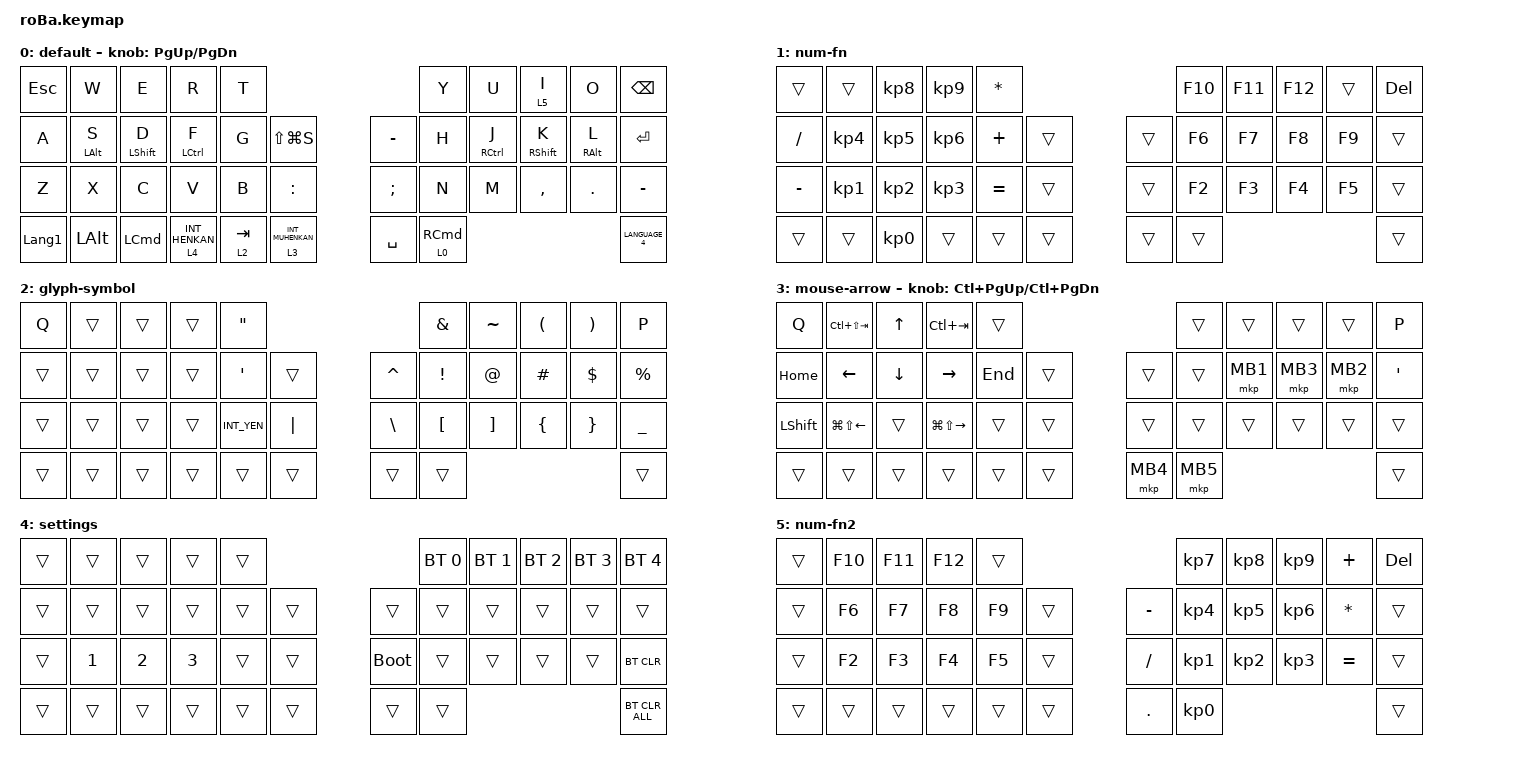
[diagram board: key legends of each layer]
#define ZMK_POINTING_DEFAULT_MOVE_VAL 2400  // default: 600
#define ZMK_POINTING_DEFAULT_SCRL_VAL 8    // default: 10

#include <behaviors.dtsi>
#include <dt-bindings/zmk/bt.h>
#include <dt-bindings/zmk/keys.h>
#include <dt-bindings/zmk/pointing.h>

#define MOUSE 4
#define SCROLL 5
#define NUM 6

&mt {
    flavor = "balanced";
    quick-tap-ms = <0>;
};

/ {
    combos {
        compatible = "zmk,combos";

        tab {
            bindings = <&kp TAB>;
            key-positions = <11 12>;
        };

        shift_tab {
            bindings = <&kp LS(TAB)>;
            key-positions = <12 13>;
        };

        muhennkann {
            bindings = <&to_layer_0 INT_MUHENKAN>;
            key-positions = <11 10>;
        };

        double_quotation {
            bindings = <&kp DOUBLE_QUOTES>;
            key-positions = <20 21>;
        };

        eq {
            bindings = <&kp EQUAL>;
            key-positions = <24 25>;
        };
    };

    macros {
        to_layer_0: to_layer_0 {
            compatible = "zmk,behavior-macro-one-param";
            #binding-cells = <1>;
            bindings = <&to 0 &macro_param_1to1 &kp MACRO_PLACEHOLDER>;
            label = "TO_LAYER_0";
        };
    };

    behaviors {
        lt_to_layer_0: lt_to_layer_0 {
            compatible = "zmk,behavior-hold-tap";
            label = "LAYER_TAP_TO_0";
            bindings = <&mo>, <&to_layer_0>;

            #binding-cells = <2>;
            tapping-term-ms = <200>;
        };
    };

    keymap {
        compatible = "zmk,keymap";

        default {
            bindings = <
&kp ESC         &kp W           &kp E             &kp R                        &kp T                                                        &kp Y                &kp U        &lt 5 I            &kp O            &kp BACKSPACE
&kp A           &mt LEFT_ALT S  &mt LEFT_SHIFT D  &mt LCTRL F                  &kp G      &kp LS(LG(S))                      &kp MINUS      &kp H                &mt RCTRL J  &mt RIGHT_SHIFT K  &mt RIGHT_ALT L  &kp ENTER
&kp Z           &kp X           &kp C             &kp V                        &kp B      &kp COLON                          &kp SEMICOLON  &kp N                &kp M        &kp COMMA          &kp DOT          &kp MINUS
&kp LANGUAGE_1  &kp LEFT_ALT    &kp LEFT_COMMAND  &lt_to_layer_0 4 INT_HENKAN  &lt 2 TAB  &lt_to_layer_0 3 INT_MUHENKAN      &kp SPACE      &lt 0 RIGHT_COMMAND                                                   &kp LANGUAGE_4
            >;

            sensor-bindings = <&inc_dec_kp PG_UP PAGE_DOWN>;
        };

        num-fn {
            bindings = <
&trans     &trans           &kp KP_NUMBER_8  &kp KP_NUMBER_9  &kp ASTERISK                      &kp F10  &kp F11  &kp F12  &trans  &kp DELETE
&kp SLASH  &kp KP_NUMBER_4  &kp KP_NUMBER_5  &kp KP_NUMBER_6  &kp PLUS      &trans      &trans  &kp F6   &kp F7   &kp F8   &kp F9  &trans
&kp MINUS  &kp KP_NUMBER_1  &kp KP_NUMBER_2  &kp KP_NUMBER_3  &kp EQUAL     &trans      &trans  &kp F2   &kp F3   &kp F4   &kp F5  &trans
&trans     &trans           &kp KP_NUMBER_0  &trans           &trans        &trans      &trans  &trans                             &trans
            >;
        };

        glyph-symbol {
            bindings = <
&kp Q   &trans  &trans  &trans  &kp DOUBLE_QUOTES                           &kp AMPERSAND     &kp TILDE          &kp LEFT_PARENTHESIS  &kp RIGHT_PARENTHESIS  &kp P
&trans  &trans  &trans  &trans  &kp SINGLE_QUOTE   &trans        &kp CARET  &kp EXCLAMATION   &kp AT_SIGN        &kp HASH              &kp DOLLAR             &kp PERCENT
&trans  &trans  &trans  &trans  &kp INT_YEN        &kp PIPE      &kp BSLH   &kp LEFT_BRACKET  &kp RIGHT_BRACKET  &kp LEFT_BRACE        &kp RIGHT_BRACE        &kp UNDERSCORE
&trans  &trans  &trans  &trans  &trans             &trans        &trans     &trans                                                                            &trans
            >;
        };

        mouse-arrow {
            bindings = <
&kp Q           &kp LC(LS(TAB))         &kp UP_ARROW    &kp LC(TAB)              &trans                         &trans    &trans    &trans    &trans    &kp P
&kp HOME        &kp LEFT_ARROW          &kp DOWN_ARROW  &kp RIGHT_ARROW          &kp END  &trans      &trans    &trans    &mkp MB1  &mkp MB3  &mkp MB2  &kp SINGLE_QUOTE
&kp LEFT_SHIFT  &kp LG(LS(LEFT_ARROW))  &trans          &kp LG(LS(RIGHT_ARROW))  &trans   &trans      &trans    &trans    &trans    &trans    &trans    &trans
&trans          &trans                  &trans          &trans                   &trans   &trans      &mkp MB4  &mkp MB5                                &trans
            >;

            sensor-bindings = <&inc_dec_kp LC(PAGE_UP) LC(PAGE_DOWN)>;
        };

        settings {
            bindings = <
&trans  &trans        &trans        &trans        &trans                           &bt BT_SEL 0  &bt BT_SEL 1  &bt BT_SEL 2  &bt BT_SEL 3  &bt BT_SEL 4
&trans  &trans        &trans        &trans        &trans  &trans      &trans       &trans        &trans        &trans        &trans        &trans
&trans  &kp NUMBER_1  &kp NUMBER_2  &kp NUMBER_3  &trans  &trans      &bootloader  &trans        &trans        &trans        &trans        &bt BT_CLR
&trans  &trans        &trans        &trans        &trans  &trans      &trans       &trans                                                  &bt BT_CLR_ALL
            >;
        };

        num-fn2 {
            bindings = <
&trans  &kp F10  &kp F11  &kp F12  &trans                          &kp KP_NUMBER_7  &kp KP_NUMBER_8  &kp KP_NUMBER_9  &kp PLUS      &kp DELETE
&trans  &kp F6   &kp F7   &kp F8   &kp F9  &trans      &kp MINUS   &kp KP_NUMBER_4  &kp KP_NUMBER_5  &kp KP_NUMBER_6  &kp ASTERISK  &trans
&trans  &kp F2   &kp F3   &kp F4   &kp F5  &trans      &kp SLASH   &kp KP_NUMBER_1  &kp KP_NUMBER_2  &kp KP_NUMBER_3  &kp EQUAL     &trans
&trans  &trans   &trans   &trans   &trans  &trans      &kp PERIOD  &kp KP_NUMBER_0                                                  &trans
            >;
        };
    };
};
